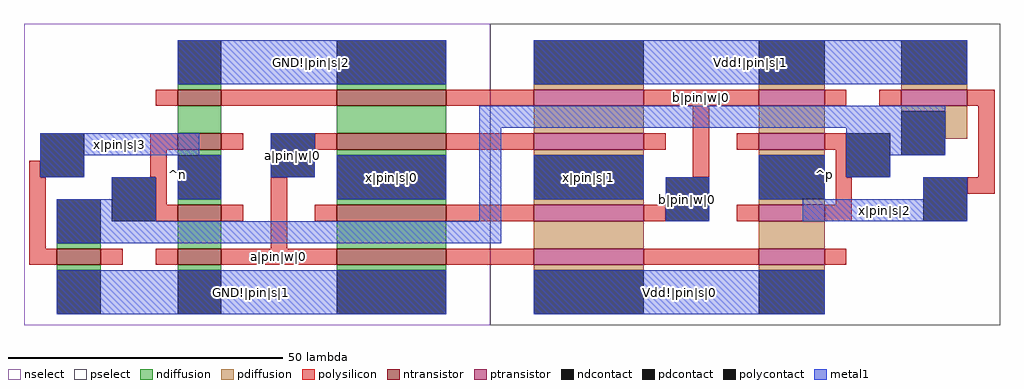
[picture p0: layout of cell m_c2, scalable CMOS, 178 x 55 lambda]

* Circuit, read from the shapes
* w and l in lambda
.subckt m_c2 GND!|pin|s|1 GND!|pin|s|2 Vdd!|pin|s|0 Vdd!|pin|s|1 a|pin|w|0 b|pin|w|0 x|pin|s|0 x|pin|s|1 x|pin|s|2 x|pin|s|3
M1 n1 x|pin|s|3 GND!|pin|s|1 VSUBS nfet w=8 l=3
M2 n2 a|pin|w|0 GND!|pin|s|1 VSUBS nfet w=8 l=3
M3 x|pin|s|3 n1 n2 VSUBS nfet w=8 l=3
M4 n3 n1 x|pin|s|3 VSUBS nfet w=8 l=3
M5 GND!|pin|s|2 b|pin|w|0 n3 VSUBS nfet w=8 l=3
M6 n4 a|pin|w|0 GND!|pin|s|1 VSUBS nfet w=20 l=3
M7 x|pin|s|0 b|pin|w|0 n4 VSUBS nfet w=20 l=3
M8 n5 a|pin|w|0 x|pin|s|0 VSUBS nfet w=20 l=3
M9 GND!|pin|s|2 b|pin|w|0 n5 VSUBS nfet w=20 l=3
M10 n6 a|pin|w|0 Vdd!|pin|s|0 NWELL pfet w=20 l=3
M11 x|pin|s|1 b|pin|w|0 n6 NWELL pfet w=20 l=3
M12 n7 a|pin|w|0 x|pin|s|1 NWELL pfet w=20 l=3
M13 Vdd!|pin|s|1 b|pin|w|0 n7 NWELL pfet w=20 l=3
M14 n8 a|pin|w|0 Vdd!|pin|s|0 NWELL pfet w=12 l=3
M15 x|pin|s|2 n1 n8 NWELL pfet w=12 l=3
M16 n9 n1 x|pin|s|2 NWELL pfet w=12 l=3
M17 Vdd!|pin|s|1 b|pin|w|0 n9 NWELL pfet w=12 l=3
M18 Vdd!|pin|s|1 x|pin|s|2 n1 NWELL pfet w=12 l=3
.ends

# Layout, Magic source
magic
tech scmos
<< nselect >>
rect -85 314 0 369
<< pselect >>
rect 0 314 93 369
<< ndiffusion >>
rect -57 357 -49 358
rect -28 357 -8 358
rect -57 349 -49 354
rect -28 349 -8 354
rect -57 345 -49 346
rect -57 336 -49 337
rect -28 345 -8 346
rect -79 328 -71 329
rect -57 328 -49 333
rect -28 336 -8 337
rect -28 328 -8 333
rect -79 324 -71 325
rect -57 324 -49 325
rect -28 324 -8 325
<< pdiffusion >>
rect 8 357 28 358
rect 49 357 61 358
rect 75 357 87 358
rect 8 349 28 354
rect 8 345 28 346
rect 49 349 61 354
rect 75 353 87 354
rect 8 336 28 337
rect 49 345 61 346
rect 49 336 61 337
rect 83 348 87 353
rect 8 328 28 333
rect 49 328 61 333
rect 8 324 28 325
rect 49 324 61 325
<< ntransistor >>
rect -57 354 -49 357
rect -28 354 -8 357
rect -57 346 -49 349
rect -28 346 -8 349
rect -57 333 -49 336
rect -28 333 -8 336
rect -79 325 -71 328
rect -57 325 -49 328
rect -28 325 -8 328
<< ptransistor >>
rect 8 354 28 357
rect 49 354 61 357
rect 75 354 87 357
rect 8 346 28 349
rect 49 346 61 349
rect 8 333 28 336
rect 49 333 61 336
rect 8 325 28 328
rect 49 325 61 328
<< polysilicon >>
rect -61 354 -57 357
rect -49 354 -28 357
rect -8 354 8 357
rect 28 354 49 357
rect 61 354 65 357
rect 71 354 75 357
rect 87 354 92 357
rect -84 341 -82 344
rect -62 346 -57 349
rect -49 346 -45 349
rect -62 341 -59 346
rect -84 328 -81 341
rect -61 336 -59 341
rect -32 346 -28 349
rect -8 346 8 349
rect 28 346 32 349
rect -61 333 -57 336
rect -49 333 -45 336
rect -40 328 -37 341
rect 37 341 40 354
rect 45 346 49 349
rect 61 346 65 349
rect -32 333 -28 336
rect -8 333 8 336
rect 28 333 32 336
rect 63 341 65 346
rect 89 341 92 354
rect 63 336 66 341
rect 45 333 49 336
rect 61 333 66 336
rect 87 338 92 341
rect -84 325 -79 328
rect -71 325 -67 328
rect -61 325 -57 328
rect -49 325 -28 328
rect -8 325 8 328
rect 28 325 49 328
rect 61 325 65 328
<< ndcontact >>
rect -57 358 -49 366
rect -28 358 -8 366
rect -79 329 -71 337
rect -57 337 -49 345
rect -28 337 -8 345
rect -79 316 -71 324
rect -57 316 -49 324
rect -28 316 -8 324
<< pdcontact >>
rect 8 358 28 366
rect 49 358 61 366
rect 75 358 87 366
rect 8 337 28 345
rect 49 337 61 345
rect 75 345 83 353
rect 8 316 28 324
rect 49 316 61 324
<< polycontact >>
rect -82 341 -74 349
rect -69 333 -61 341
rect -40 341 -32 349
rect 32 333 40 341
rect 65 341 73 349
rect 79 333 87 341
<< metal1 >>
rect -57 358 -8 366
rect 8 358 87 366
rect -2 350 83 354
rect -82 345 -53 349
rect -82 341 -74 345
rect -69 337 -61 341
rect -57 337 -49 345
rect -40 341 -32 349
rect -28 337 -8 345
rect -79 333 -61 337
rect -2 333 2 350
rect 65 345 83 350
rect 8 337 28 345
rect 32 333 40 341
rect 49 337 61 345
rect 65 341 73 345
rect 79 337 87 341
rect 57 333 87 337
rect -79 329 2 333
rect -79 316 -8 324
rect 8 316 61 324
<< labels >>
rlabel space -86 314 -28 369 7 ^n
rlabel space 28 314 94 369 3 ^p
rlabel metal1 32 333 40 341 1 b|pin|w|0
rlabel metal1 -40 341 -32 349 1 a|pin|w|0
rlabel polysilicon -45 325 -32 328 1 a|pin|w|0
rlabel polysilicon 32 354 45 357 1 b|pin|w|0
rlabel metal1 -28 337 -8 345 1 x|pin|s|0
rlabel metal1 8 337 28 345 1 x|pin|s|1
rlabel metal1 49 337 61 345 1 x|pin|s|2
rlabel metal1 57 333 87 337 1 x|pin|s|2
rlabel metal1 -57 337 -49 345 1 x|pin|s|3
rlabel metal1 -82 345 -53 349 1 x|pin|s|3
rlabel metal1 -79 316 -8 324 1 GND!|pin|s|1
rlabel metal1 -57 358 -8 366 1 GND!|pin|s|2
rlabel metal1 8 358 87 366 1 Vdd!|pin|s|1
rlabel metal1 8 316 61 324 1 Vdd!|pin|s|0
<< end >>
